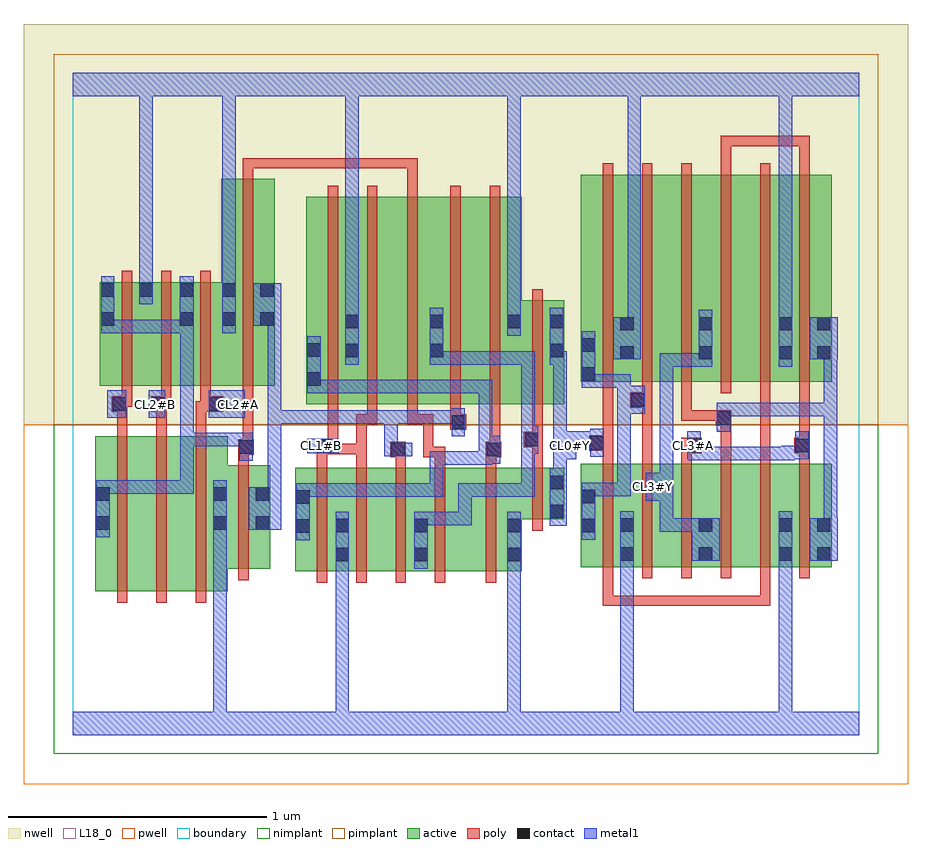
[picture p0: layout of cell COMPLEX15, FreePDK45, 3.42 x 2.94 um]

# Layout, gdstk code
import gdstk
lib = gdstk.Library(unit=1e-6, precision=1e-09)
def R(c, l, rs):  # rectangles x0, y0, x1, y1
    for r in rs: c.add(gdstk.rectangle(r[:2], r[2:], *l))
def A(c, l, x, y, w, h, nx, ny, dx, dy):  # array of equal rectangles
    R(c, l, [(x+i*dx, y+j*dy, x+i*dx+w, y+j*dy+h) for i in range(nx) for j in range(ny)])
active = (1, 0)
pwell = (2, 0)
nwell = (3, 0)
nimplant = (4, 0)
pimplant = (5, 0)
poly = (9, 0)
contact = (10, 0)
metal1 = (11, 0)
L18_0 = (18, 0)
boundary = (235, 0)

complex15 = lib.new_cell('COMPLEX15')
R(complex15, active, [(0.088,0.556,0.268,1.156), (0.088,0.556,0.148,1.156), (0.268,0.556,0.42,1.156), (0.42,0.556,0.6,1.156), (0.86,0.634,1.072,1.034), (1.012,0.634,1.192,1.034), (1.192,0.634,1.376,1.034), (1.316,0.634,1.496,1.034), (1.496,0.634,1.736,1.034), (0.54,0.644,0.764,1.044), (1.964,0.65,2.172,1.05), (2.112,0.65,2.172,1.05), (2.112,0.65,2.296,1.05), (2.296,0.65,2.476,1.05), (2.416,0.65,2.476,1.05), (2.416,0.65,2.6,1.05), (2.6,0.65,2.784,1.05), (2.724,0.65,2.784,1.05), (2.724,0.65,2.932,1.05), (2.872,0.65,2.932,1.05), (1.012,0.668,1.072,0.84), (1.316,0.668,1.376,0.84), (1.676,0.668,1.736,0.84), (0.54,0.756,0.6,1.044), (0.704,0.756,0.764,1.044), (0.86,0.756,0.92,1.034), (1.964,0.756,2.024,1.05), (1.676,0.834,1.9,1.034), (1.84,0.834,1.9,1.034), (0.902,1.28,1.11,2.08), (0.902,1.28,0.962,2.044), (1.05,1.28,1.234,2.08), (1.234,1.28,1.436,2.08), (1.376,1.28,1.556,2.08), (1.556,1.28,1.736,2.08), (1.676,1.28,1.9,1.68), (1.84,1.28,1.9,1.68), (0.106,1.35,0.166,1.75), (0.106,1.35,0.314,1.75), (0.254,1.35,0.47,1.75), (0.41,1.35,0.634,1.75), (0.574,1.35,0.782,2.15), (0.722,1.35,0.782,2.044), (1.964,1.366,2.024,2.044), (1.964,1.366,2.172,2.166), (2.112,1.366,2.172,2.044), (2.112,1.366,2.296,2.166), (2.296,1.366,2.476,2.166), (2.416,1.366,2.476,2.044), (2.416,1.366,2.6,2.166), (2.6,1.366,2.784,2.166), (2.724,1.366,2.784,2.044), (2.724,1.366,2.932,2.166), (2.872,1.366,2.932,2.044), (0.41,1.388,0.47,1.75), (0.574,1.416,0.634,1.928), (1.05,1.456,1.11,2.044), (1.376,1.456,1.436,2.044), (0.254,1.526,0.314,1.75), (1.676,1.568,1.736,1.644)])
R(complex15, pwell, [(-0.188,-0.188,3.228,1.2)])
R(complex15, nwell, [(-0.188,1.2,3.228,2.748)])
R(complex15, nimplant, [(-0.072,-0.072,3.112,1.2)])
R(complex15, pimplant, [(-0.072,1.2,3.112,2.632)])
A(complex15, poly, 0.172, 0.512, 0.04, 0.688, 3, 1, 0.152, 0)
A(complex15, poly, 0.944, 0.59, 0.04, 0.488, 4, 1, 0.152, 0)
A(complex15, poly, 2.048, 0.606, 0.04, 0.488, 6, 1, 0.152, 0)
A(complex15, poly, 0.172, 1.16, 0.04, 0.13, 3, 1, 0.152, 0)
A(complex15, poly, 0.19, 1.27, 0.04, 0.076, 3, 1, 0.152, 0)
A(complex15, poly, 0.19, 1.306, 0.04, 0.488, 3, 1, 0.152, 0)
A(complex15, poly, 2.048, 1.322, 0.04, 0.888, 6, 1, 0.152, 0)
R(complex15, poly, [(2.048,0.5,2.088,0.646), (2.048,0.5,2.088,0.54), (2.048,0.5,2.088,0.54), (2.048,0.5,2.088,0.54), (2.048,0.5,2.194,0.54), (2.154,0.5,2.194,0.54), (2.154,0.5,2.312,0.54), (2.272,0.5,2.312,0.54), (2.272,0.5,2.312,0.54), (2.272,0.5,2.312,0.54), (2.272,0.5,2.418,0.54), (2.378,0.5,2.418,0.54), (2.378,0.5,2.59,0.54), (2.55,0.5,2.59,0.54), (2.55,0.5,2.59,0.54), (2.55,0.5,2.59,0.54), (2.55,0.5,2.696,0.54), (2.656,0.5,2.696,0.646), (2.656,0.5,2.696,0.54), (1.596,0.59,1.636,1.078), (0.64,0.6,0.68,1.088), (1.776,0.79,1.816,1.078), (0.944,1.038,0.984,1.126), (1.096,1.038,1.136,1.126), (1.248,1.038,1.288,1.114), (1.4,1.038,1.44,1.114), (1.596,1.038,1.636,1.114), (1.776,1.038,1.816,1.152), (0.64,1.048,0.68,1.124), (2.048,1.054,2.088,1.14), (2.2,1.054,2.24,1.306), (2.352,1.054,2.392,1.13), (2.504,1.054,2.544,1.236), (2.656,1.054,2.696,1.326), (2.808,1.054,2.848,1.13), (1.228,1.074,1.288,1.134), (1.354,1.074,1.394,1.114), (1.354,1.074,1.44,1.114), (1.354,1.074,1.394,1.24), (1.4,1.074,1.44,1.114), (1.596,1.074,1.636,1.114), (1.596,1.074,1.636,1.114), (1.596,1.074,1.656,1.134), (0.64,1.084,0.7,1.144), (0.944,1.086,1.026,1.146), (0.986,1.086,1.026,1.126), (0.986,1.086,1.026,1.126), (0.986,1.086,1.136,1.126), (1.096,1.086,1.136,1.126), (1.096,1.086,1.136,1.24), (2.352,1.09,2.43,1.15), (2.788,1.09,2.848,1.15), (1.612,1.094,1.652,1.276), (1.996,1.1,2.088,1.16), (0.658,1.104,0.698,1.144), (0.658,1.104,0.698,1.144), (0.658,1.104,0.698,1.346), (0.986,1.106,1.026,1.146), (0.986,1.106,1.026,1.146), (0.986,1.106,1.026,1.276), (2.808,1.11,2.848,1.15), (2.808,1.11,2.848,1.15), (2.808,1.11,2.848,1.362), (1.744,1.112,1.816,1.172), (2.048,1.12,2.088,1.16), (2.048,1.12,2.088,1.16), (2.048,1.12,2.088,1.362), (1.776,1.132,1.816,1.172), (1.776,1.132,1.816,1.172), (1.776,1.132,1.816,1.276), (1.46,1.18,1.52,1.24), (2.484,1.196,2.544,1.256), (2.504,1.196,2.544,1.236), (2.504,1.196,2.544,1.236), (1.096,1.2,1.178,1.24), (1.138,1.2,1.178,1.276), (1.294,1.2,1.334,1.24), (1.294,1.2,1.334,1.276), (1.294,1.2,1.394,1.24), (1.354,1.2,1.394,1.24), (1.46,1.2,1.5,1.276), (2.352,1.216,2.392,1.362), (2.352,1.216,2.392,1.256), (2.352,1.216,2.43,1.256), (2.39,1.216,2.43,1.256), (2.39,1.216,2.524,1.256), (0.986,1.236,1.026,2.124), (1.138,1.236,1.178,2.124), (1.294,1.236,1.334,2.124), (1.46,1.236,1.5,2.124), (1.612,1.236,1.652,2.124), (1.776,1.236,1.816,1.724), (0.152,1.25,0.212,1.31), (0.302,1.25,0.364,1.31), (0.476,1.25,0.534,1.29), (0.494,1.25,0.534,1.29), (0.494,1.25,0.582,1.31), (2.154,1.266,2.24,1.326), (2.2,1.266,2.24,1.306), (2.2,1.266,2.24,1.306), (0.172,1.27,0.212,1.31), (0.172,1.27,0.23,1.31), (0.324,1.27,0.364,1.31), (0.324,1.27,0.382,1.31), (2.2,1.286,2.24,1.362), (2.656,1.286,2.696,1.326), (2.656,1.286,2.696,1.326), (2.656,1.286,2.696,1.326), (2.656,1.286,2.696,1.362), (0.658,1.306,0.698,2.194), (1.294,2.084,1.334,2.23), (0.658,2.154,0.698,2.23), (2.504,2.17,2.544,2.316), (2.808,2.17,2.848,2.316), (0.658,2.19,0.698,2.23), (0.658,2.19,0.82,2.23), (0.78,2.19,0.82,2.23), (0.78,2.19,0.82,2.23), (0.78,2.19,0.82,2.23), (0.78,2.19,0.994,2.23), (0.954,2.19,0.994,2.23), (0.954,2.19,0.994,2.23), (0.954,2.19,0.994,2.23), (0.954,2.19,1.132,2.23), (1.092,2.19,1.132,2.23), (1.092,2.19,1.132,2.23), (1.092,2.19,1.132,2.23), (1.092,2.19,1.334,2.23), (1.294,2.19,1.334,2.23), (2.504,2.276,2.696,2.316), (2.504,2.276,2.544,2.316), (2.504,2.276,2.544,2.316), (2.504,2.276,2.544,2.316), (2.656,2.276,2.848,2.316), (2.656,2.276,2.696,2.316), (2.656,2.276,2.696,2.316), (2.656,2.276,2.696,2.316), (2.808,2.276,2.848,2.316)])
R(complex15, contact, [(1.016,0.672,1.068,0.724), (1.32,0.672,1.372,0.724), (1.68,0.672,1.732,0.724), (2.116,0.674,2.168,0.726), (2.42,0.674,2.472,0.726), (2.728,0.674,2.78,0.726), (2.876,0.674,2.928,0.726), (0.864,0.782,0.916,0.834), (1.016,0.784,1.068,0.836), (1.32,0.784,1.372,0.836), (1.68,0.784,1.732,0.836), (1.968,0.784,2.02,0.836), (2.116,0.786,2.168,0.838), (2.42,0.786,2.472,0.838), (2.728,0.786,2.78,0.838), (2.876,0.786,2.928,0.838), (0.092,0.794,0.144,0.846), (0.544,0.794,0.596,0.846), (0.708,0.794,0.76,0.846), (1.844,0.838,1.896,0.89), (0.864,0.894,0.916,0.946), (1.968,0.896,2.02,0.948), (0.092,0.906,0.144,0.958), (0.544,0.906,0.596,0.958), (0.708,0.906,0.76,0.958), (1.844,0.95,1.896,1.002), (1.232,1.078,1.284,1.13), (1.6,1.078,1.652,1.13), (0.644,1.088,0.696,1.14), (0.948,1.09,1,1.142), (2.374,1.094,2.426,1.146), (2.792,1.094,2.844,1.146), (2,1.104,2.052,1.156), (1.748,1.116,1.8,1.168), (1.464,1.184,1.516,1.236), (2.488,1.2,2.54,1.252), (0.156,1.254,0.208,1.306), (0.306,1.254,0.358,1.306), (0.526,1.254,0.578,1.306), (2.158,1.27,2.21,1.322), (0.906,1.35,0.958,1.402), (1.968,1.37,2.02,1.422), (2.116,1.452,2.168,1.504), (2.42,1.452,2.472,1.504), (2.728,1.452,2.78,1.504), (2.876,1.452,2.928,1.504), (1.054,1.46,1.106,1.512), (1.38,1.46,1.432,1.512), (1.844,1.46,1.896,1.512), (0.906,1.462,0.958,1.514), (1.968,1.482,2.02,1.534), (2.116,1.564,2.168,1.616), (2.42,1.564,2.472,1.616), (2.728,1.564,2.78,1.616), (2.876,1.564,2.928,1.616), (1.054,1.572,1.106,1.624), (1.38,1.572,1.432,1.624), (1.68,1.572,1.732,1.624), (1.844,1.572,1.896,1.624), (0.11,1.582,0.162,1.634), (0.414,1.582,0.466,1.634), (0.578,1.582,0.63,1.634), (0.726,1.582,0.778,1.634), (0.11,1.694,0.162,1.746), (0.258,1.694,0.31,1.746), (0.414,1.694,0.466,1.746), (0.578,1.694,0.63,1.746), (0.726,1.694,0.778,1.746)])
A(complex15, metal1, 1.38, 0.922, 0.052, 0.052, 3, 1, 0.11, 0)
A(complex15, metal1, 1.094, 1.204, 0.052, 0.052, 3, 2, 0.11, 0.118)
A(complex15, metal1, 1.094, 1.322, 0.162, 0.052, 3, 1, 0.11, 0)
R(complex15, metal1, [(0,0,3.04,0.092), (0.544,0.04,0.596,0.818), (1.016,0.04,1.068,0.092), (1.016,0.04,1.068,0.092), (1.016,0.04,1.068,0.696), (1.68,0.04,1.732,0.092), (1.68,0.04,1.732,0.092), (1.68,0.04,1.732,0.092), (1.68,0.04,1.732,0.092), (1.68,0.04,1.732,0.092), (1.68,0.04,1.732,0.092), (1.68,0.04,1.732,0.092), (1.68,0.04,1.732,0.092), (1.68,0.04,1.732,0.092), (1.68,0.04,1.732,0.092), (1.68,0.04,1.732,0.092), (1.68,0.04,1.732,0.092), (1.68,0.04,1.732,0.696), (2.116,0.04,2.168,0.698), (2.728,0.04,2.78,0.698), (1.016,0.644,1.068,0.696), (1.016,0.644,1.068,0.696), (1.016,0.644,1.068,0.696), (1.016,0.644,1.068,0.696), (1.016,0.644,1.068,0.696), (1.016,0.644,1.068,0.696), (1.016,0.644,1.068,0.696), (1.016,0.644,1.068,0.696), (1.016,0.644,1.068,0.696), (1.016,0.644,1.068,0.696), (1.016,0.644,1.068,0.864), (1.32,0.644,1.372,0.864), (1.68,0.644,1.732,0.864), (2.116,0.646,2.168,0.698), (2.116,0.646,2.168,0.698), (2.116,0.646,2.168,0.698), (2.116,0.646,2.168,0.698), (2.116,0.646,2.168,0.698), (2.116,0.646,2.168,0.698), (2.116,0.646,2.168,0.698), (2.116,0.646,2.168,0.698), (2.116,0.646,2.168,0.698), (2.116,0.646,2.168,0.698), (2.116,0.646,2.168,0.698), (2.116,0.646,2.168,0.698), (2.116,0.646,2.168,0.866), (2.728,0.646,2.78,0.698), (2.728,0.646,2.78,0.698), (2.728,0.646,2.78,0.698), (2.728,0.646,2.78,0.698), (2.728,0.646,2.78,0.698), (2.728,0.646,2.78,0.698), (2.728,0.646,2.78,0.698), (2.728,0.646,2.78,0.698), (2.728,0.646,2.78,0.698), (2.728,0.646,2.78,0.698), (2.728,0.646,2.78,0.698), (2.728,0.646,2.78,0.698), (2.728,0.646,2.78,0.866), (2.392,0.674,2.5,0.838), (2.848,0.674,2.956,0.838), (0.864,0.754,0.916,0.974), (1.968,0.756,2.02,0.976), (0.092,0.766,0.144,0.986), (0.544,0.766,0.596,0.818), (0.544,0.766,0.596,0.818), (0.544,0.766,0.596,0.818), (0.544,0.766,0.596,0.818), (0.544,0.766,0.596,0.818), (0.544,0.766,0.596,0.818), (0.544,0.766,0.596,0.818), (0.544,0.766,0.596,0.818), (0.544,0.766,0.596,0.986), (2.268,0.786,2.32,0.838), (2.268,0.786,2.32,0.838), (2.268,0.786,2.32,0.838), (2.268,0.786,2.444,0.838), (2.268,0.786,2.32,0.958), (2.902,0.786,2.954,1.284), (2.902,0.786,2.954,0.838), (2.902,0.786,2.954,0.838), (0.68,0.794,0.806,0.958), (1.844,0.81,1.91,1.03), (1.32,0.812,1.542,0.864), (1.49,0.812,1.542,0.864), (1.49,0.812,1.542,0.864), (1.49,0.812,1.542,0.864), (1.49,0.812,1.542,0.974), (0.754,0.906,0.806,1.256), (2.214,0.906,2.32,1.014), (0.864,0.922,0.916,0.974), (0.864,0.922,0.916,0.974), (0.864,0.922,1.088,0.974), (1.036,0.922,1.088,0.974), (1.036,0.922,1.088,0.974), (1.036,0.922,1.088,0.974), (1.036,0.922,1.256,0.974), (1.204,0.922,1.256,0.974), (1.204,0.922,1.256,0.974), (1.204,0.922,1.256,0.974), (1.204,0.922,1.432,0.974), (1.38,0.922,1.432,1.098), (1.49,0.922,1.652,0.974), (1.6,0.922,1.786,0.974), (1.734,0.922,1.786,0.974), (1.734,0.922,1.786,1.118), (1.968,0.924,2.062,0.976), (2.01,0.924,2.062,0.976), (2.01,0.924,2.156,0.976), (2.104,0.924,2.156,0.976), (2.104,0.924,2.156,0.976), (2.104,0.924,2.156,0.976), (2.104,0.924,2.156,1.294), (0.092,0.934,0.144,0.986), (0.092,0.934,0.144,0.986), (0.092,0.934,0.302,0.986), (0.25,0.934,0.302,0.986), (0.25,0.934,0.302,0.986), (0.25,0.934,0.302,0.986), (0.25,0.934,0.468,0.986), (0.416,0.934,0.468,0.986), (0.416,0.934,0.468,1.168), (2.268,0.962,2.32,1.476), (1.858,0.978,1.91,1.118), (1.38,1.046,1.432,1.098), (1.38,1.046,1.476,1.098), (1.424,1.046,1.476,1.098), (1.424,1.046,1.622,1.098), (1.57,1.046,1.622,1.102), (1.57,1.05,1.622,1.102), (1.57,1.05,1.622,1.102), (1.57,1.05,1.652,1.102), (1.57,1.05,1.622,1.374), (1.6,1.05,1.652,1.158), (0.644,1.06,0.696,1.168), (2.378,1.062,2.43,1.118), (2.378,1.062,2.536,1.114), (2.484,1.062,2.536,1.114), (2.484,1.062,2.65,1.114), (2.598,1.062,2.65,1.114), (2.598,1.062,2.65,1.114), (2.598,1.062,2.65,1.114), (2.598,1.062,2.79,1.114), (2.738,1.062,2.79,1.118), (1.734,1.066,1.786,1.174), (1.858,1.066,1.946,1.174), (2.374,1.066,2.426,1.174), (2.374,1.066,2.43,1.118), (2.738,1.066,2.844,1.118), (2.792,1.066,2.844,1.174), (2,1.076,2.052,1.184), (1.204,1.078,1.256,1.13), (1.204,1.078,1.256,1.13), (1.204,1.078,1.312,1.13), (1.204,1.078,1.256,1.256), (1.748,1.088,1.8,1.196), (0.906,1.09,1.028,1.146), (0.416,1.116,0.468,1.168), (0.416,1.116,0.468,1.168), (0.416,1.116,0.468,1.168), (0.416,1.116,0.468,1.168), (0.416,1.116,0.468,1.168), (0.416,1.116,0.578,1.168), (0.416,1.116,0.468,1.606), (0.526,1.116,0.578,1.168), (0.526,1.116,0.696,1.168), (1.734,1.122,1.786,1.484), (1.734,1.122,1.8,1.174), (1.858,1.122,1.91,1.484), (1.894,1.122,1.946,1.174), (1.894,1.122,1.946,1.174), (1.894,1.122,2.052,1.174), (1.464,1.156,1.516,1.264), (2.488,1.172,2.54,1.28), (0.754,1.204,0.806,1.256), (0.754,1.204,0.806,1.256), (0.754,1.204,0.806,1.256), (0.754,1.204,0.958,1.256), (0.754,1.204,0.806,1.634), (0.906,1.204,0.958,1.256), (0.906,1.204,0.958,1.256), (0.906,1.204,0.958,1.256), (0.906,1.204,1.146,1.256), (1.094,1.204,1.146,1.256), (1.094,1.204,1.146,1.256), (1.094,1.204,1.256,1.256), (1.204,1.204,1.366,1.256), (1.314,1.204,1.366,1.256), (1.314,1.204,1.366,1.256), (1.314,1.204,1.516,1.256), (0.134,1.226,0.208,1.334), (0.294,1.226,0.358,1.334), (0.526,1.226,0.666,1.334), (2.488,1.228,2.54,1.28), (2.488,1.228,2.54,1.284), (2.488,1.232,2.734,1.284), (2.682,1.232,2.734,1.284), (2.682,1.232,2.79,1.284), (2.738,1.232,2.79,1.284), (2.738,1.232,2.954,1.284), (2.902,1.232,2.954,1.504), (2.902,1.232,2.954,1.284), (2.902,1.232,2.954,1.284), (2.902,1.232,2.954,1.284), (2.104,1.242,2.156,1.294), (2.104,1.242,2.21,1.294), (2.104,1.242,2.156,1.394), (2.158,1.242,2.21,1.35), (0.906,1.322,0.958,1.542), (0.906,1.322,0.978,1.374), (0.926,1.322,0.978,1.374), (0.926,1.322,1.146,1.374), (1.094,1.322,1.146,1.374), (1.094,1.322,1.146,1.374), (1.314,1.322,1.366,1.374), (1.314,1.322,1.366,1.374), (1.424,1.322,1.476,1.374), (1.424,1.322,1.622,1.374), (1.57,1.322,1.622,1.374), (1.968,1.342,2.02,1.562), (1.968,1.342,2.1,1.394), (2.048,1.342,2.1,1.394), (2.048,1.342,2.156,1.394), (2.104,1.342,2.156,1.394), (2.268,1.424,2.32,1.476), (2.268,1.424,2.32,1.476), (2.268,1.424,2.32,1.476), (2.268,1.424,2.32,1.476), (2.268,1.424,2.32,1.476), (2.268,1.424,2.472,1.476), (2.42,1.424,2.472,1.644), (2.728,1.424,2.78,1.644), (1.054,1.432,1.106,1.652), (1.38,1.432,1.432,1.652), (1.38,1.432,1.542,1.484), (1.49,1.432,1.542,1.484), (1.49,1.432,1.542,1.484), (1.49,1.432,1.542,1.484), (1.49,1.432,1.652,1.484), (1.6,1.432,1.652,1.484), (1.6,1.432,1.786,1.484), (1.734,1.432,1.786,1.484), (1.734,1.432,1.786,1.484), (1.734,1.432,1.786,1.484), (1.734,1.432,1.786,1.484), (1.734,1.432,1.786,1.484), (1.844,1.432,1.896,1.484), (1.844,1.432,1.896,1.652), (1.844,1.432,1.91,1.484), (2.088,1.452,2.196,1.616), (2.848,1.452,2.956,1.616), (1.68,1.544,1.732,1.652), (0.11,1.554,0.162,1.606), (0.11,1.554,0.162,1.606), (0.11,1.554,0.162,1.774), (0.11,1.554,0.302,1.606), (0.25,1.554,0.302,1.606), (0.25,1.554,0.302,1.606), (0.25,1.554,0.302,1.606), (0.25,1.554,0.466,1.606), (0.414,1.554,0.468,1.774), (0.578,1.554,0.63,1.774), (2.144,1.564,2.196,1.616), (2.144,1.564,2.196,1.616), (2.144,1.564,2.196,1.616), (2.144,1.564,2.196,1.616), (2.144,1.564,2.196,1.616), (2.144,1.564,2.196,1.616), (2.144,1.564,2.196,1.616), (2.144,1.564,2.196,1.616), (2.144,1.564,2.196,2.52), (0.698,1.582,0.806,1.746), (2.728,1.592,2.78,1.644), (2.728,1.592,2.78,1.644), (2.728,1.592,2.78,1.644), (2.728,1.592,2.78,1.644), (2.728,1.592,2.78,2.52), (1.054,1.6,1.106,1.652), (1.054,1.6,1.106,1.652), (1.054,1.6,1.106,1.652), (1.054,1.6,1.106,1.652), (1.054,1.6,1.106,1.652), (1.054,1.6,1.106,1.652), (1.054,1.6,1.106,2.52), (1.68,1.6,1.732,1.652), (1.68,1.6,1.732,1.652), (1.68,1.6,1.732,1.652), (1.68,1.6,1.732,1.652), (1.68,1.6,1.732,1.652), (1.68,1.6,1.732,1.652), (1.68,1.6,1.732,1.652), (1.68,1.6,1.732,1.652), (1.68,1.6,1.732,2.52), (0.258,1.666,0.31,1.774), (0.258,1.722,0.31,1.774), (0.258,1.722,0.31,1.774), (0.258,1.722,0.31,1.774), (0.258,1.722,0.31,1.774), (0.258,1.722,0.31,1.774), (0.258,1.722,0.31,1.774), (0.258,1.722,0.31,1.774), (0.258,1.722,0.31,1.774), (0.258,1.722,0.31,1.774), (0.258,1.722,0.31,1.774), (0.258,1.722,0.31,1.774), (0.258,1.722,0.31,1.774), (0.258,1.722,0.31,1.774), (0.258,1.722,0.31,1.774), (0.258,1.722,0.31,1.774), (0.258,1.722,0.31,1.774), (0.258,1.722,0.31,2.52), (0.578,1.722,0.63,1.774), (0.578,1.722,0.63,1.774), (0.578,1.722,0.63,1.774), (0.578,1.722,0.63,1.774), (0.578,1.722,0.63,2.52), (0,2.468,3.04,2.56), (0.578,2.468,0.63,2.52), (0.578,2.468,0.63,2.52), (0.578,2.468,0.63,2.52), (0.578,2.468,0.63,2.52), (1.054,2.468,1.106,2.52), (1.054,2.468,1.106,2.52), (2.728,2.468,2.78,2.52), (2.728,2.468,2.78,2.52), (2.728,2.468,2.78,2.52), (2.728,2.468,2.78,2.52)])
R(complex15, L18_0, [(0,0,3.04,0.092), (0.544,0.04,0.596,0.818), (1.016,0.04,1.068,0.092), (1.016,0.04,1.068,0.092), (1.016,0.04,1.068,0.696), (1.68,0.04,1.732,0.092), (1.68,0.04,1.732,0.092), (1.68,0.04,1.732,0.092), (1.68,0.04,1.732,0.092), (1.68,0.04,1.732,0.092), (1.68,0.04,1.732,0.092), (1.68,0.04,1.732,0.092), (1.68,0.04,1.732,0.092), (1.68,0.04,1.732,0.092), (1.68,0.04,1.732,0.092), (1.68,0.04,1.732,0.092), (1.68,0.04,1.732,0.092), (1.68,0.04,1.732,0.696), (2.116,0.04,2.168,0.698), (2.728,0.04,2.78,0.698), (1.016,0.644,1.068,0.696), (1.016,0.644,1.068,0.696), (1.016,0.644,1.068,0.696), (1.016,0.644,1.068,0.696), (1.016,0.644,1.068,0.696), (1.016,0.644,1.068,0.696), (1.016,0.644,1.068,0.696), (1.016,0.644,1.068,0.696), (1.016,0.644,1.068,0.696), (1.016,0.644,1.068,0.696), (1.016,0.644,1.068,0.864), (1.32,0.644,1.372,0.864), (1.68,0.644,1.732,0.864), (2.116,0.646,2.168,0.698), (2.116,0.646,2.168,0.698), (2.116,0.646,2.168,0.698), (2.116,0.646,2.168,0.698), (2.116,0.646,2.168,0.698), (2.116,0.646,2.168,0.698), (2.116,0.646,2.168,0.698), (2.116,0.646,2.168,0.698), (2.116,0.646,2.168,0.698), (2.116,0.646,2.168,0.698), (2.116,0.646,2.168,0.698), (2.116,0.646,2.168,0.698), (2.116,0.646,2.168,0.866), (2.728,0.646,2.78,0.698), (2.728,0.646,2.78,0.698), (2.728,0.646,2.78,0.698), (2.728,0.646,2.78,0.698), (2.728,0.646,2.78,0.698), (2.728,0.646,2.78,0.698), (2.728,0.646,2.78,0.698), (2.728,0.646,2.78,0.698), (2.728,0.646,2.78,0.698), (2.728,0.646,2.78,0.698), (2.728,0.646,2.78,0.698), (2.728,0.646,2.78,0.698), (2.728,0.646,2.78,0.866), (2.392,0.674,2.5,0.838), (0.544,0.766,0.596,0.818), (0.544,0.766,0.596,0.818), (0.544,0.766,0.596,0.818), (0.544,0.766,0.596,0.818), (0.544,0.766,0.596,0.818), (0.544,0.766,0.596,0.818), (0.544,0.766,0.596,0.818), (0.544,0.766,0.596,0.818), (0.544,0.766,0.596,0.986), (2.268,0.786,2.32,0.838), (2.268,0.786,2.32,0.838), (2.268,0.786,2.32,0.838), (2.268,0.786,2.32,0.958), (2.268,0.786,2.444,0.838), (1.844,0.81,1.91,1.03), (1.32,0.812,1.542,0.864), (1.49,0.812,1.542,0.864), (1.49,0.812,1.542,0.864), (1.49,0.812,1.542,0.864), (1.49,0.812,1.542,0.974), (2.214,0.906,2.32,1.014), (1.49,0.922,1.542,0.974), (1.49,0.922,1.652,0.974), (1.6,0.922,1.652,0.974), (1.6,0.922,1.786,0.974), (1.734,0.922,1.786,0.974), (1.734,0.922,1.786,1.118), (2.214,0.934,2.266,0.986), (2.268,0.962,2.32,1.476), (1.858,0.978,1.91,1.118), (2.378,1.062,2.536,1.114), (2.378,1.062,2.43,1.118), (2.484,1.062,2.536,1.114), (2.484,1.062,2.65,1.114), (2.598,1.062,2.65,1.114), (2.598,1.062,2.65,1.114), (2.598,1.062,2.65,1.114), (2.598,1.062,2.79,1.114), (2.738,1.062,2.79,1.118), (1.734,1.066,1.786,1.174), (1.858,1.066,1.946,1.174), (2.374,1.066,2.426,1.174), (2.374,1.066,2.43,1.118), (2.738,1.066,2.844,1.118), (2.792,1.066,2.844,1.174), (2,1.076,2.052,1.184), (1.748,1.088,1.8,1.196), (0.906,1.09,1.028,1.146), (0.934,1.094,0.986,1.146), (1.734,1.094,1.786,1.146), (1.894,1.094,1.946,1.146), (2.374,1.094,2.426,1.146), (1.734,1.122,1.786,1.484), (1.734,1.122,1.8,1.174), (1.858,1.122,1.91,1.484), (1.894,1.122,1.946,1.174), (1.894,1.122,1.946,1.174), (1.894,1.122,2.052,1.174), (0.134,1.226,0.208,1.334), (0.294,1.226,0.358,1.334), (0.526,1.226,0.666,1.334), (0.134,1.254,0.186,1.306), (0.294,1.254,0.346,1.306), (0.614,1.254,0.666,1.306), (2.268,1.424,2.32,1.476), (2.268,1.424,2.32,1.476), (2.268,1.424,2.32,1.476), (2.268,1.424,2.32,1.476), (2.268,1.424,2.32,1.476), (2.268,1.424,2.472,1.476), (2.42,1.424,2.472,1.644), (2.728,1.424,2.78,1.644), (1.054,1.432,1.106,1.652), (1.38,1.432,1.432,1.652), (1.38,1.432,1.542,1.484), (1.49,1.432,1.542,1.484), (1.49,1.432,1.542,1.484), (1.49,1.432,1.542,1.484), (1.49,1.432,1.652,1.484), (1.6,1.432,1.652,1.484), (1.6,1.432,1.786,1.484), (1.734,1.432,1.786,1.484), (1.734,1.432,1.786,1.484), (1.734,1.432,1.786,1.484), (1.734,1.432,1.786,1.484), (1.734,1.432,1.786,1.484), (1.844,1.432,1.896,1.484), (1.844,1.432,1.896,1.652), (1.844,1.432,1.91,1.484), (2.088,1.452,2.196,1.616), (1.68,1.544,1.732,1.652), (0.578,1.554,0.63,1.774), (2.144,1.564,2.196,1.616), (2.144,1.564,2.196,1.616), (2.144,1.564,2.196,1.616), (2.144,1.564,2.196,1.616), (2.144,1.564,2.196,1.616), (2.144,1.564,2.196,1.616), (2.144,1.564,2.196,1.616), (2.144,1.564,2.196,1.616), (2.144,1.564,2.196,2.52), (2.728,1.592,2.78,1.644), (2.728,1.592,2.78,1.644), (2.728,1.592,2.78,1.644), (2.728,1.592,2.78,1.644), (2.728,1.592,2.78,2.52), (1.054,1.6,1.106,1.652), (1.054,1.6,1.106,1.652), (1.054,1.6,1.106,1.652), (1.054,1.6,1.106,1.652), (1.054,1.6,1.106,1.652), (1.054,1.6,1.106,1.652), (1.054,1.6,1.106,2.52), (1.68,1.6,1.732,1.652), (1.68,1.6,1.732,1.652), (1.68,1.6,1.732,1.652), (1.68,1.6,1.732,1.652), (1.68,1.6,1.732,1.652), (1.68,1.6,1.732,1.652), (1.68,1.6,1.732,1.652), (1.68,1.6,1.732,1.652), (1.68,1.6,1.732,2.52), (0.258,1.666,0.31,1.774), (0.258,1.722,0.31,1.774), (0.258,1.722,0.31,1.774), (0.258,1.722,0.31,1.774), (0.258,1.722,0.31,1.774), (0.258,1.722,0.31,1.774), (0.258,1.722,0.31,1.774), (0.258,1.722,0.31,1.774), (0.258,1.722,0.31,1.774), (0.258,1.722,0.31,1.774), (0.258,1.722,0.31,1.774), (0.258,1.722,0.31,1.774), (0.258,1.722,0.31,1.774), (0.258,1.722,0.31,1.774), (0.258,1.722,0.31,1.774), (0.258,1.722,0.31,1.774), (0.258,1.722,0.31,1.774), (0.258,1.722,0.31,2.52), (0.578,1.722,0.63,1.774), (0.578,1.722,0.63,1.774), (0.578,1.722,0.63,1.774), (0.578,1.722,0.63,1.774), (0.578,1.722,0.63,2.52), (0,2.468,3.04,2.56), (0.578,2.468,0.63,2.52), (0.578,2.468,0.63,2.52), (0.578,2.468,0.63,2.52), (0.578,2.468,0.63,2.52), (1.054,2.468,1.106,2.52), (1.054,2.468,1.106,2.52), (2.728,2.468,2.78,2.52), (2.728,2.468,2.78,2.52), (2.728,2.468,2.78,2.52), (2.728,2.468,2.78,2.52)])
R(complex15, boundary, [(0,0,3.04,2.56)])
complex15.add(gdstk.Label('CL0#Y', (1.92,1.12), layer=11, texttype=0))
complex15.add(gdstk.Label('CL1#B', (0.96,1.12), layer=11, texttype=0))
complex15.add(gdstk.Label('CL1#Y', (1.76,1.12), layer=11, texttype=0))
complex15.add(gdstk.Label('CL2#A', (0.64,1.28), layer=11, texttype=0))
complex15.add(gdstk.Label('CL2#B', (0.32,1.28), layer=11, texttype=0))
complex15.add(gdstk.Label('CL2#C', (0.16,1.28), layer=11, texttype=0))
complex15.add(gdstk.Label('CL3#A', (2.4,1.12), layer=11, texttype=0))
complex15.add(gdstk.Label('CL3#Y', (2.24,0.96), layer=11, texttype=0))

lib.write_gds('COMPLEX15.gds')
